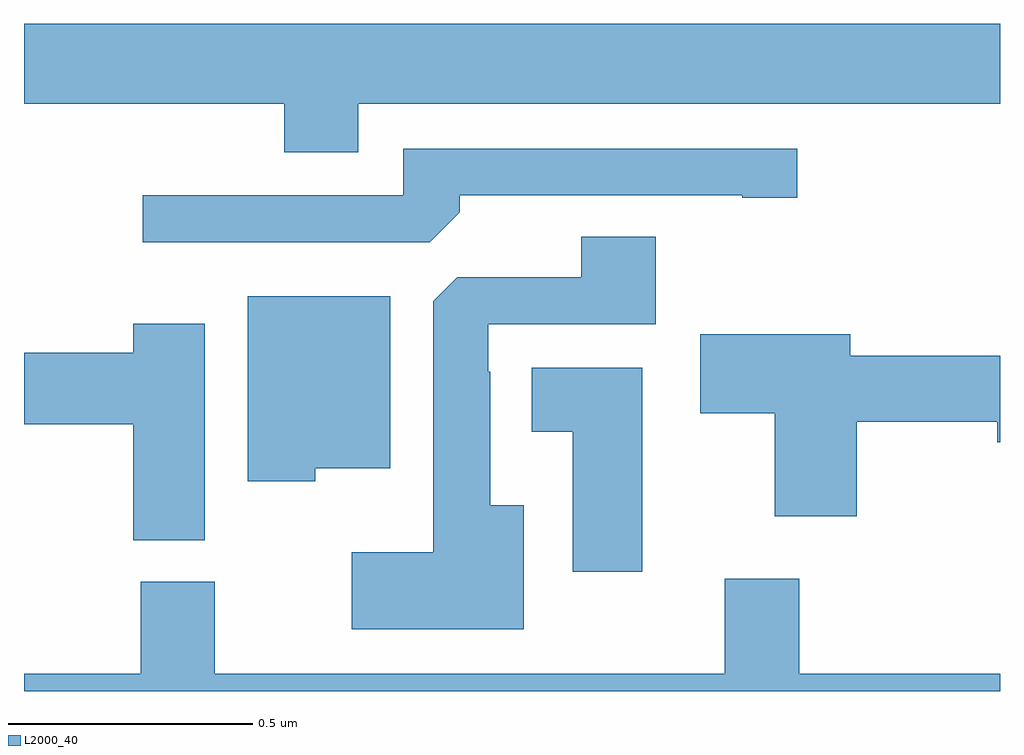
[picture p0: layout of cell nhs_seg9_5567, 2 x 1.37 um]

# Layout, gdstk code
import gdstk
lib = gdstk.Library(unit=1e-6, precision=1e-09)
def P(c, l, *ps):  # polygons
    for p in ps: c.add(gdstk.Polygon(p, *l))
L2000_40 = (2000, 40)

nhs_seg9_5567 = lib.new_cell('nhs_seg9_5567')
P(nhs_seg9_5567, L2000_40, [(180.685,1245.704),(182,1245.704),(182,1245.868),(180,1245.868),(180,1245.704),(180.533,1245.704),(180.533,1245.605),(180.685,1245.605)],
  [(180.893,1245.482),(180.893,1245.516),(181.472,1245.516),(181.472,1245.511),(181.585,1245.511),(181.585,1245.612),(180.777,1245.612),(180.777,1245.516),(180.243,1245.516),(180.243,1245.42),(180.831,1245.42)],
  [(181.024,1244.881),(180.955,1244.881),(180.955,1245.155),(180.951,1245.155),(180.951,1245.252),(181.295,1245.252),(181.295,1245.431),(181.142,1245.431),(181.142,1245.348),(180.888,1245.348),(180.839,1245.299),(180.839,1244.785),(180.672,1244.785),(180.672,1244.627),(181.024,1244.627)],
  [(180.597,1244.957),(180.751,1244.957),(180.751,1245.31),(180.458,1245.31),(180.458,1244.93),(180.597,1244.93)],
  [(180.37,1245.253),(180.224,1245.253),(180.224,1245.194),(180,1245.194),(180,1245.047),(180.224,1245.047),(180.224,1244.809),(180.37,1244.809)],
  [(181.706,1245.052),(181.994,1245.052),(181.994,1245.01),(182,1245.01),(182,1245.188),(181.693,1245.188),(181.693,1245.232),(181.386,1245.232),(181.386,1245.07),(181.538,1245.07),(181.538,1244.859),(181.706,1244.859)],
  [(181.267,1245.163),(181.04,1245.163),(181.04,1245.032),(181.124,1245.032),(181.124,1244.745),(181.267,1244.745)],
  [(182,1244.536),(181.589,1244.536),(181.589,1244.731),(181.436,1244.731),(181.436,1244.536),(180.391,1244.536),(180.391,1244.724),(180.239,1244.724),(180.239,1244.536),(180,1244.536),(180,1244.5),(182,1244.5)])

lib.write_gds('nhs_seg9_5567.gds')
